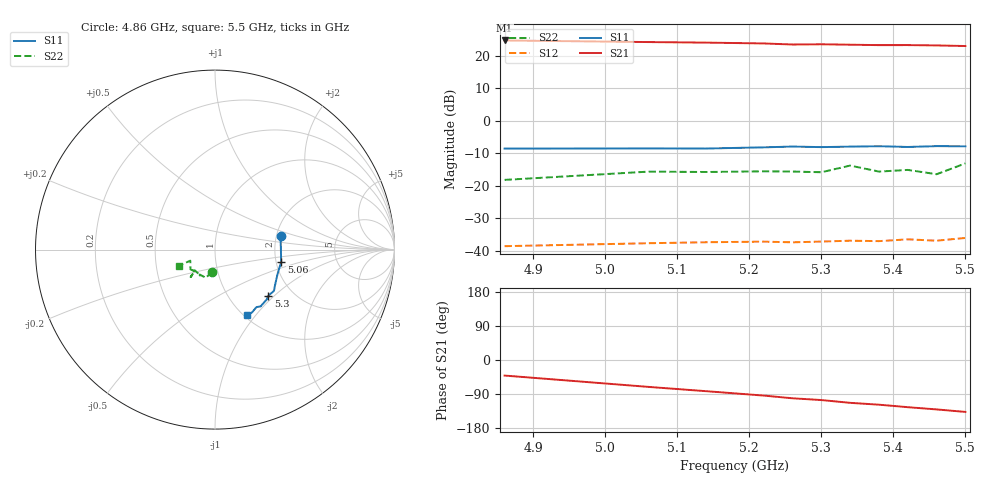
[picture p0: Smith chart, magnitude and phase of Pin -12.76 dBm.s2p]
! RsaToolbox (C) 2015 Rohde & Schwarz America
! Number of points: 11
! Number of ports: 2
! Balanced ports?: No
# Hz S RI R 50
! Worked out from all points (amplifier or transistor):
!   11 points, 4.86 GHz to 5.5 GHz, reference 50 ohm
!   highest |S21| = 24.7 dB at 4.86 GHz (marker M1)
!   |S21| within 3 dB of that: start of sweep to end of sweep
!   unconditionally stable (mu >= 1): start of sweep to end of sweep
!   at 5.06 GHz: K = 2.02, MAG = 25.1 dB, |S12| = -37.6 dB
!   at 5.3 GHz: K = 2.03, MAG = 24.5 dB, |S12| = -37.1 dB
!   at 5.5 GHz: K = 1.83, MAG = 24.2 dB, |S12| = -36.0 dB
!   S11 on the Smith chart (normalised r, x): 4.86 GHz: 2.11, +0.37; 5.06 GHz: 2.13, -0.34; 5.3 GHz: 1.51, -0.92; 5.5 GHz: 1.03, -0.90
4.86e9  0.3653 0.075  12.9 -11.23  0.00713 -0.00943  -0.0163 -0.1222
5.06e9  0.3687 -0.0691  5.261 -15.28  0.00332 -0.0127  -0.0509 -0.1571
5.14e9  0.3486 -0.1354  2.117 -15.7  0.000984 -0.0135  -0.0851 -0.1391
5.22e9  0.3336 -0.2018  -1.04 -15.35  -0.0011 -0.0138  -0.085 -0.1436
5.26e9  0.3287 -0.2295  -2.842 -14.54  -0.00159 -0.0135  -0.08 -0.1451
5.3e9  0.2971 -0.2572  -4.046 -14.38  -0.00319 -0.0135  -0.1142 -0.1144
5.34e9  0.2886 -0.277  -5.763 -13.55  -0.00396 -0.0138  -0.1356 -0.1531
5.38e9  0.2542 -0.3166  -6.795 -12.81  -0.00552 -0.013  -0.1133 -0.1204
5.42e9  0.2314 -0.3202  -8.227 -11.96  -0.00656 -0.0135  -0.1366 -0.1102
5.46e9  0.2036 -0.3525  -9.3 -10.93  -0.00773 -0.0121  -0.1375 -0.0617
5.5e9  0.1758 -0.3643  -10.27 -9.578  -0.00901 -0.013  -0.2017 -0.0899
